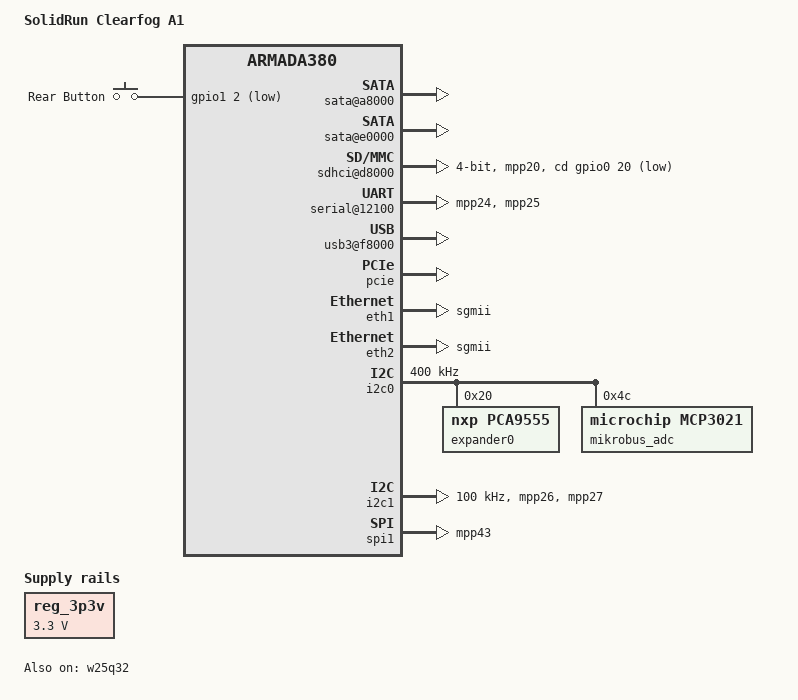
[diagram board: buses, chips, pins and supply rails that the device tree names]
/*
 * Device Tree file for SolidRun Clearfog revision A1 rev 2.0 (88F6828)
 *
 *  Copyright (C) 2015 Russell King
 *
 * This board is in development; the contents of this file work with
 * the A1 rev 2.0 of the board, which does not represent final
 * production board.  Things will change, don't expect this file to
 * remain compatible info the future.
 *
 * This file is dual-licensed: you can use it either under the terms
 * of the GPL or the X11 license, at your option. Note that this dual
 * licensing only applies to this file, and not this project as a
 * whole.
 *
 *  a) This file is free software; you can redistribute it and/or
 *     modify it under the terms of the GNU General Public License
 *     version 2 as published by the Free Software Foundation.
 *
 *     This file is distributed in the hope that it will be useful
 *     but WITHOUT ANY WARRANTY; without even the implied warranty of
 *     MERCHANTABILITY or FITNESS FOR A PARTICULAR PURPOSE.  See the
 *     GNU General Public License for more details.
 *
 * Or, alternatively
 *
 *  b) Permission is hereby granted, free of charge, to any person
 *     obtaining a copy of this software and associated documentation
 *     files (the "Software"), to deal in the Software without
 *     restriction, including without limitation the rights to use
 *     copy, modify, merge, publish, distribute, sublicense, and/or
 *     sell copies of the Software, and to permit persons to whom the
 *     Software is furnished to do so, subject to the following
 *     conditions:
 *
 *     The above copyright notice and this permission notice shall be
 *     included in all copies or substantial portions of the Software.
 *
 *     THE SOFTWARE IS PROVIDED , WITHOUT WARRANTY OF ANY KIND
 *     EXPRESS OR IMPLIED, INCLUDING BUT NOT LIMITED TO THE WARRANTIES
 *     OF MERCHANTABILITY, FITNESS FOR A PARTICULAR PURPOSE AND
 *     NONINFRINGEMENT. IN NO EVENT SHALL THE AUTHORS OR COPYRIGHT
 *     HOLDERS BE LIABLE FOR ANY CLAIM, DAMAGES OR OTHER LIABILITY
 *     WHETHER IN AN ACTION OF CONTRACT, TORT OR OTHERWISE, ARISING
 *     FROM, OUT OF OR IN CONNECTION WITH THE SOFTWARE OR THE USE OR
 *     OTHER DEALINGS IN THE SOFTWARE.
 */

/dts-v1/;
#include <dt-bindings/input/input.h>
#include <dt-bindings/gpio/gpio.h>
#include "armada-388.dtsi"
#include "armada-38x-solidrun-microsom.dtsi"

/ {
	model = "SolidRun Clearfog A1";
	compatible = "solidrun,clearfog-a1", "marvell,armada388",
		"marvell,armada385", "marvell,armada380";

	aliases {
		/* So that mvebu u-boot can update the MAC addresses */
		ethernet1 = &eth0;
		ethernet2 = &eth1;
		ethernet3 = &eth2;
		spi1 = &spi1;
		i2c0 = &i2c0;
		i2c1 = &i2c1;
	};

	chosen {
		stdout-path = "serial0:115200n8";
	};

	reg_3p3v: regulator-3p3v {
		compatible = "regulator-fixed";
		regulator-name = "3P3V";
		regulator-min-microvolt = <3300000>;
		regulator-max-microvolt = <3300000>;
		regulator-always-on;
	};

	soc {
		internal-regs {
			rtc@a3800 {
				/*
				 * If the rtc doesn't work, run "date reset"
				 * twice in u-boot.
				 */
				status = "okay";
			};

			sata@a8000 {
				/* pinctrl? */
				status = "okay";
			};

			sata@e0000 {
				/* pinctrl? */
				status = "okay";
			};

			sdhci@d8000 {
				bus-width = <4>;
				cd-gpios = <&gpio0 20 GPIO_ACTIVE_LOW>;
				no-1-8-v;
				pinctrl-0 = <&microsom_sdhci_pins
					     &clearfog_sdhci_cd_pins>;
				pinctrl-names = "default";
				status = "okay";
				vmmc = <&reg_3p3v>;
				wp-inverted;
			};

			serial@12100 {
				/* mikrobus uart */
				pinctrl-0 = <&mikro_uart_pins>;
				pinctrl-names = "default";
				status = "okay";
			};

			usb3@f8000 {
				/* CON7, USB-A port on back of device */
				status = "okay";
			};
		};

		pcie {
			status = "okay";
			/*
			 * The two PCIe units are accessible through
			 * the mini-PCIe connectors on the board.
			 */
			pcie@2,0 {
				/* Port 1, Lane 0. CONN3, nearest power. */
				reset-gpios = <&expander0 1 GPIO_ACTIVE_LOW>;
				status = "okay";
			};
			pcie@3,0 {
				/* Port 2, Lane 0. CONN2, nearest CPU. */
				reset-gpios = <&expander0 2 GPIO_ACTIVE_LOW>;
				status = "okay";
			};
		};
	};

	gpio-keys {
		compatible = "gpio-keys";
		pinctrl-0 = <&rear_button_pins>;
		pinctrl-names = "default";

		button_0 {
			/* The rear SW3 button */
			label = "Rear Button";
			gpios = <&gpio1 2 GPIO_ACTIVE_LOW>;
			linux,can-disable;
			linux,code = <BTN_0>;
		};
	};
};

&w25q32 {
	status = "okay";
};

&eth1 {
	managed = "in-band-status";
	phy-mode = "sgmii";
	status = "okay";
};

&eth2 {
	phy-mode = "sgmii";
	status = "okay";
};

&i2c0 {
	clock-frequency = <400000>;
	pinctrl-0 = <&i2c0_pins>;
	pinctrl-names = "default";
	status = "okay";

	/*
	 * PCA9655 GPIO expander, up to 1MHz clock.
	 *  0-CON3 CLKREQ#
	 *  1-CON3 PERST#
	 *  2-CON2 PERST#
	 *  3-CON3 W_DISABLE
	 *  4-CON2 CLKREQ#
	 *  5-USB3 overcurrent
	 *  6-USB3 power
	 *  7-CON2 W_DISABLE
	 *  8-JP4 P1
	 *  9-JP4 P4
	 * 10-JP4 P5
	 * 11-m.2 DEVSLP
	 * 12-SFP_LOS
	 * 13-SFP_TX_FAULT
	 * 14-SFP_TX_DISABLE
	 * 15-SFP_MOD_DEF0
	 */
	expander0: gpio-expander@20 {
		/*
		 * This is how it should be:
		 * compatible = "onnn,pca9655",
		 *	 "nxp,pca9555";
		 * but you can't do this because of
		 * the way I2C works.
		 */
		compatible = "nxp,pca9555";
		gpio-controller;
		#gpio-cells = <2>;
		reg = <0x20>;

		pcie1_0_clkreq {
			gpio-hog;
			gpios = <0 GPIO_ACTIVE_LOW>;
			input;
			line-name = "pcie1.0-clkreq";
		};
		pcie1_0_w_disable {
			gpio-hog;
			gpios = <3 GPIO_ACTIVE_LOW>;
			output-low;
			line-name = "pcie1.0-w-disable";
		};
		pcie2_0_clkreq {
			gpio-hog;
			gpios = <4 GPIO_ACTIVE_LOW>;
			input;
			line-name = "pcie2.0-clkreq";
		};
		pcie2_0_w_disable {
			gpio-hog;
			gpios = <7 GPIO_ACTIVE_LOW>;
			output-low;
			line-name = "pcie2.0-w-disable";
		};
		usb3_ilimit {
			gpio-hog;
			gpios = <5 GPIO_ACTIVE_LOW>;
			input;
			line-name = "usb3-current-limit";
		};
		usb3_power {
			gpio-hog;
			gpios = <6 GPIO_ACTIVE_HIGH>;
			output-high;
			line-name = "usb3-power";
		};
		m2_devslp {
			gpio-hog;
			gpios = <11 GPIO_ACTIVE_HIGH>;
			output-low;
			line-name = "m.2 devslp";
		};
	};

	mikrobus_adc: mcp3021@4c {
		compatible = "microchip,mcp3021";
		reg = <0x4c>;
	};
};

&i2c1 {
	/*
	 * Routed to SFP, mikrobus, and PCIe.
	 * SFP limits this to 100kHz, and requires
	 *  an AT24C01A/02/04 with address pins tied
	 *  low, which takes addresses 0x50 and 0x51.
	 * Mikrobus doesn't specify beyond an I2C
	 *  bus being present.
	 * PCIe uses ARP to assign addresses, or
	 *  0x63-0x64.
	 */
	clock-frequency = <100000>;
	pinctrl-0 = <&clearfog_i2c1_pins>;
	pinctrl-names = "default";
	status = "okay";
};

&pinctrl {
	clearfog_i2c1_pins: i2c1-pins {
		/* SFP, PCIe, mSATA, mikrobus */
		marvell,pins = "mpp26", "mpp27";
		marvell,function = "i2c1";
	};
	clearfog_sdhci_cd_pins: clearfog-sdhci-cd-pins {
		marvell,pins = "mpp20";
		marvell,function = "gpio";
	};
	clearfog_spi1_cs_pins: spi1-cs-pins {
		marvell,pins = "mpp55";
		marvell,function = "spi1";
	};
	mikro_pins: mikro-pins {
		/* int: mpp22 rst: mpp29 */
		marvell,pins = "mpp22", "mpp29";
		marvell,function = "gpio";
	};
	mikro_spi_pins: mikro-spi-pins {
		marvell,pins = "mpp43";
		marvell,function = "spi1";
	};
	mikro_uart_pins: mikro-uart-pins {
		marvell,pins = "mpp24", "mpp25";
		marvell,function = "ua1";
	};
	rear_button_pins: rear-button-pins {
		marvell,pins = "mpp34";
		marvell,function = "gpio";
	};
};

&spi1 {
	/*
	 * Add SPI CS pins for clearfog:
	 * CS0: W25Q32
	 * CS1:
	 * CS2: mikrobus
	 */
	pinctrl-0 = <&spi1_pins &mikro_spi_pins>;
	pinctrl-names = "default";
	status = "okay";
};

/*
+#define A38x_CUSTOMER_BOARD_1_MPP16_23         0x00400011
MPP18: gpio		? (pca9655 int?)
MPP19: gpio		? (clkreq?)
MPP20: gpio		? (sd0 detect)
MPP21: sd0:cmd		x sd0
MPP22: gpio		x mikro int
MPP23: gpio		x switch irq
+#define A38x_CUSTOMER_BOARD_1_MPP24_31         0x22043333
MPP24: ua1:rxd		x mikro rx
MPP25: ua1:txd		x mikro tx
MPP26: i2c1:sck		x mikro sck
MPP27: i2c1:sda		x mikro sda
MPP28: sd0:clk		x sd0
MPP29: gpio		x mikro rst
MPP30: ge1:txd2		? (config)
MPP31: ge1:txd3		? (config)
+#define A38x_CUSTOMER_BOARD_1_MPP32_39         0x44400002
MPP32: ge1:txctl	? (unused)
MPP33: gpio		? (pic_com0)
MPP34: gpio		x rear button (pic_com1)
MPP35: gpio		? (pic_com2)
MPP36: gpio		? (unused)
MPP37: sd0:d3		x sd0
MPP38: sd0:d0		x sd0
MPP39: sd0:d1		x sd0
+#define A38x_CUSTOMER_BOARD_1_MPP40_47         0x41144004
MPP40: sd0:d2		x sd0
MPP41: gpio		x switch reset
MPP42: gpio		? sw1-1
MPP43: spi1:cs2		x mikro cs
MPP44: sata3:prsnt	? (unused)
MPP45: ref:clk_out0	?
MPP46: ref:clk_out1	x switch clk
MPP47: 4		? (unused)
+#define A38x_CUSTOMER_BOARD_1_MPP48_55         0x40333333
MPP48: tdm:pclk
MPP49: tdm:fsync
MPP50: tdm:drx
MPP51: tdm:dtx
MPP52: tdm:int
MPP53: tdm:rst
MPP54: gpio		? (pwm)
MPP55: spi1:cs1		x slic
+#define A38x_CUSTOMER_BOARD_1_MPP56_63         0x00004444
MPP56: spi1:mosi	x mikro mosi
MPP57: spi1:sck		x mikro sck
MPP58: spi1:miso	x mikro miso
MPP59: spi1:cs0		x w25q32
*/
